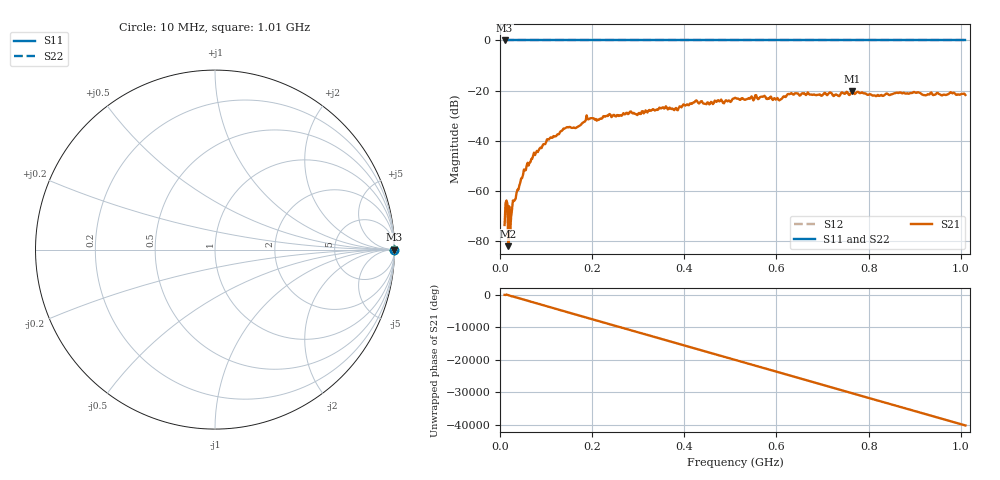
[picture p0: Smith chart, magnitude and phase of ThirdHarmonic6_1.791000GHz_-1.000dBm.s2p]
! 8/16/2025 9:40:08 PM
! C:\ANRITSUVNA\TEMP\TEMP.S2P
! CHANNEL.1
! TR.MEASUREMENT
! RAW.DATA
! RF.CORRECTION.OFF
! AVERAGING.OFF
! IF.BANDWIDTH: 5KHZ
! SWEEPTYPE:  FREQ.SWEEP(Linear)
! Reference Plane Port Info
! PORT:  PORT1  PORT2
! DISTANCE:  0  m  0  m
! TIME:  0  s  0  s
! PHASE.OFFSET:  0  deg.  0  deg.
! LOSS:  0  dB  0  dB
! REF.LOSS:  0  dB  0  dB
! REF.FREQ:  0  Hz  0  Hz
! Power Info
! POWER:  -20  dBm  -20  dBm
! EFF.POWER:  -20  dBm  -20  dBm
! SOURCE.ATTEN:  0  dB  0  dB
! TEST.ATTEN:  0  dB  0  dB
# GHZ S RI R 50.0
! FREQ.GHZ  S11RE  S11IM  S21RE  S21IM  S12RE  S12IM  S22RE  S22IM
!; PortSelection: Port_12
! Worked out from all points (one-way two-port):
!   501 points, 10 MHz to 1.01 GHz, reference 50 ohm
!   highest |S21| = -20.25 dB at 764 MHz (marker M1); lowest = -82.0 dB at 18 MHz (marker M2)
!   lowest |S11| = 0.0 dB at 10 MHz (marker M3)
!   |S11| at or under -10 dB: nowhere
!   |S22| runs from 0.0 to 0.0 dB; largest |S21 - S12| = 1.1
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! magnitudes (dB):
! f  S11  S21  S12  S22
! 10 MHz  0.0  -73.5  0.0  0.0
! 16 MHz  0.0  -65.0  0.0  0.0
! 18 MHz  0.0  -82.0  0.0  0.0
! 22 MHz  0.0  -75.9  0.0  0.0
! 24 MHz  0.0  -70.6  0.0  0.0
! 30 MHz  0.0  -64.0  0.0  0.0
! 48 MHz  0.0  -54.8  0.0  0.0
! 76 MHz  0.0  -45.7  0.0  0.0
! 106 MHz  0.0  -39.5  0.0  0.0
! 140 MHz  0.0  -35.1  0.0  0.0
! 178 MHz  0.0  -33.0  0.0  0.0
! 192 MHz  0.0  -31.5  0.0  0.0
! 344 MHz  0.0  -27.4  0.0  0.0
! 382 MHz  0.0  -26.9  0.0  0.0
! 424 MHz  0.0  -24.1  0.0  0.0
! 510 MHz  0.0  -22.8  0.0  0.0
! 608 MHz  0.0  -23.6  0.0  0.0
! 628 MHz  0.0  -21.4  0.0  0.0
! 678 MHz  0.0  -21.7  0.0  0.0
! 764 MHz  0.0  -20.2  0.0  0.0
! 844 MHz  0.0  -21.7  0.0  0.0
! 1.01 GHz  0.0  -21.7  0.0  0.0
